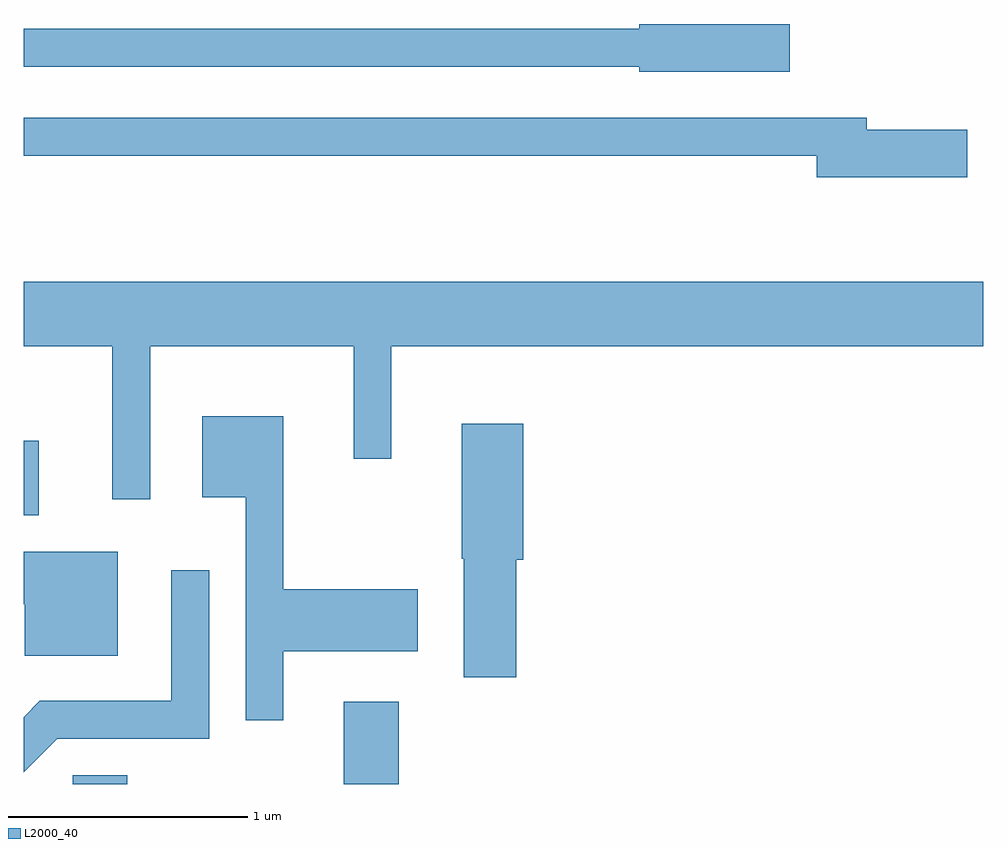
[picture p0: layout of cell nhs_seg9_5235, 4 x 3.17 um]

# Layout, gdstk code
import gdstk
lib = gdstk.Library(unit=1e-6, precision=1e-09)
def R(c, l, rs):  # rectangles x0, y0, x1, y1
    for r in rs: c.add(gdstk.rectangle(r[:2], r[2:], *l))
def P(c, l, *ps):  # polygons
    for p in ps: c.add(gdstk.Polygon(p, *l))
L2000_40 = (2000, 40)

nhs_seg9_5235 = lib.new_cell('nhs_seg9_5235')
R(nhs_seg9_5235, L2000_40, [(339.816,1994.432,340.044,1994.469), (340.946,1994.432,341.174,1994.774), (339.611,1995.551,339.674,1995.863)])
P(nhs_seg9_5235, L2000_40, [(342.804,1997.599),(342.176,1997.599),(342.176,1997.579),(339.611,1997.579),(339.611,1997.421),(342.176,1997.421),(342.176,1997.401),(342.804,1997.401)],
  [(343.544,1997.159),(343.124,1997.159),(343.124,1997.209),(339.611,1997.209),(339.611,1997.051),(342.916,1997.051),(342.916,1996.961),(343.544,1996.961)],
  [(340.139,1996.256),(340.986,1996.256),(340.986,1995.788),(341.144,1995.788),(341.144,1996.256),(343.611,1996.256),(343.611,1996.524),(339.611,1996.524),(339.611,1996.256),(339.981,1996.256),(339.981,1995.618),(340.139,1995.618)],
  [(340.694,1994.986),(341.254,1994.986),(341.254,1995.244),(340.694,1995.244),(340.694,1995.964),(340.356,1995.964),(340.356,1995.626),(340.536,1995.626),(340.536,1994.698),(340.694,1994.698)],
  [(341.664,1995.366),(341.694,1995.366),(341.694,1995.934),(341.436,1995.934),(341.436,1995.37),(341.446,1995.37),(341.446,1994.876),(341.664,1994.876)],
  [(340.004,1995.399),(339.611,1995.399),(339.611,1995.181),(339.616,1995.181),(339.616,1994.966),(340.004,1994.966)],
  [(339.752,1994.621),(340.384,1994.621),(340.384,1995.323),(340.226,1995.323),(340.226,1994.779),(339.679,1994.779),(339.611,1994.711),(339.611,1994.48)])

lib.write_gds('nhs_seg9_5235.gds')
